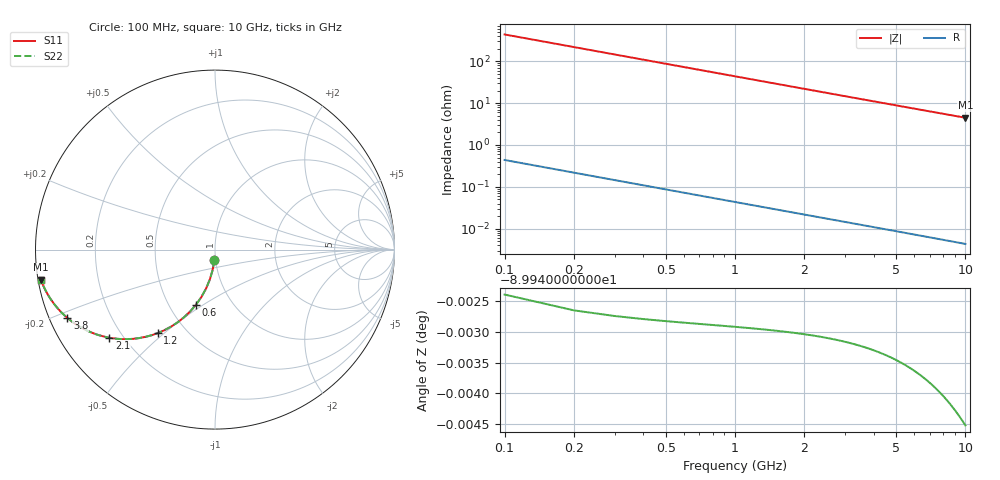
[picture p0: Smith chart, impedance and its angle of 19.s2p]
# Hz S RI R 50.00
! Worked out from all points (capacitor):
!   100 points, 100 MHz to 10 GHz, reference 50 ohm
!   read as one part in shunt: C = 3.65 pF near 100 MHz
!   lowest |Z| = 4.48 ohm at 10 GHz (marker M1)
!   S11 on the Smith chart (normalised r, x): 100 MHz: 0.99, -0.11; 600 MHz: 0.68, -0.47; 1.2 GHz: 0.35, -0.48; 2.1 GHz: 0.15, -0.35; 3.8 GHz: 0.05, -0.22; 10 GHz: 0.01, -0.09
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1e8  -0.00333 -0.0571  0.9967 -0.0571  0.9967 -0.0571  -0.00333 -0.0571
2e8  -0.0131 -0.113  0.9869 -0.1131  0.9869 -0.1131  -0.0131 -0.113
3e8  -0.0288 -0.1668  0.9711 -0.167  0.9711 -0.167  -0.0288 -0.1668
4e8  -0.0501 -0.2175  0.9499 -0.2177  0.9499 -0.2177  -0.0501 -0.2175
5e8  -0.076 -0.2643  0.924 -0.2646  0.924 -0.2646  -0.076 -0.2643
6e8  -0.1058 -0.3069  0.8942 -0.3072  0.8942 -0.3072  -0.1058 -0.3069
7e8  -0.1386 -0.3448  0.8614 -0.3452  0.8614 -0.3452  -0.1386 -0.3448
9e8  -0.2098 -0.4064  0.7902 -0.4069  0.7902 -0.4069  -0.2098 -0.4064
1.2e9  -0.3201 -0.4657  0.6799 -0.4664  0.6799 -0.4664  -0.3201 -0.4657
1.5e9  -0.4233 -0.4932  0.5767 -0.494  0.5767 -0.494  -0.4233 -0.4932
1.8e9  -0.5134 -0.4988  0.4866 -0.4998  0.4866 -0.4998  -0.5134 -0.4988
2.1e9  -0.589 -0.4909  0.411 -0.4921  0.411 -0.4921  -0.589 -0.4909
2.4e9  -0.6514 -0.4753  0.3486 -0.4767  0.3486 -0.4767  -0.6514 -0.4753
2.7e9  -0.7025 -0.4559  0.2975 -0.4574  0.2975 -0.4574  -0.7025 -0.4559
3e9  -0.7443 -0.4349  0.2557 -0.4366  0.2557 -0.4366  -0.7443 -0.4349
3.4e9  -0.7887 -0.4068  0.2113 -0.4087  0.2113 -0.4087  -0.7887 -0.4068
3.8e9  -0.8231 -0.38  0.1768 -0.3821  0.1768 -0.3821  -0.8231 -0.38
4.4e9  -0.8616 -0.3435  0.1383 -0.346  0.1383 -0.346  -0.8616 -0.3435
5.1e9  -0.8931 -0.3071  0.1069 -0.31  0.1069 -0.31  -0.8931 -0.3071
6.7e9  -0.935 -0.2441  0.065 -0.248  0.065 -0.248  -0.935 -0.2441
8.4e9  -0.9576 -0.1986  0.0424 -0.2035  0.0424 -0.2035  -0.9576 -0.1986
1e10  -0.9697 -0.168  0.0303 -0.1738  0.0303 -0.1738  -0.9697 -0.168
